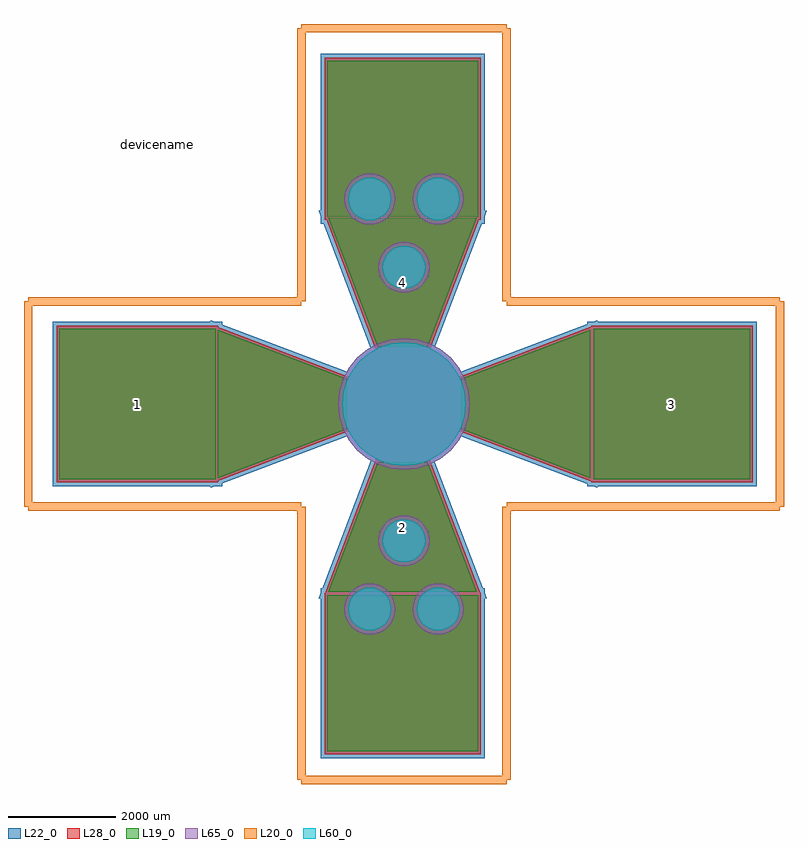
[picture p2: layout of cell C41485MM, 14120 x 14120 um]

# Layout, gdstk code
import gdstk
lib = gdstk.Library(unit=1e-6, precision=1e-09)
def R(c, l, rs):  # rectangles x0, y0, x1, y1
    for r in rs: c.add(gdstk.rectangle(r[:2], r[2:], *l))
def P(c, l, *ps):  # polygons
    for p in ps: c.add(gdstk.Polygon(p, *l))
L19_0 = (19, 0)
L20_0 = (20, 0)
L22_0 = (22, 0)
L28_0 = (28, 0)
L60_0 = (60, 0)
L65_0 = (65, 0)

c41485mm = lib.new_cell('C41485MM')
R(c41485mm, L19_0, [(-1425.74,-6454.94,1374.94,-3552.66), (-6404.14,-1400.34,-3501.86,1400.34), (3527.26,-1400.34,6429.54,1400.34), (-1425.74,3476.46,1374.94,6378.74)])
P(c41485mm, L19_0, [(-491.282,-1085.05),(440.482,-1085.05),(1352.472,-3486.95),(-1403.272,-3486.95)],
  [(-1403.272,3461.55),(1352.472,3461.55),(440.482,1059.65),(-491.282,1059.65)],
  [(1059.65,-465.882),(1059.65,465.882),(3461.55,1377.872),(3461.55,-1377.872)],
  [(-3461.55,-1377.872),(-3461.55,1377.872),(-1059.65,465.882),(-1059.65,-465.882)])
R(c41485mm, L22_0, [(-1550.74,-6579.94,1499.94,-3427.66), (-6529.14,-1525.34,-3376.86,1525.34), (3402.26,-1525.34,6554.54,1525.34), (-1550.74,3351.46,1499.94,6503.74)])
P(c41485mm, L22_0, [(-159.95,3810),(-169.078,3902.678),(-196.111,3991.794),(-240.01,4073.924),(-299.089,4145.911),(-371.076,4204.99),(-453.206,4248.889),(-542.322,4275.922),(-635,4285.05),(-727.678,4275.922),(-816.794,4248.889),(-898.924,4204.99),(-970.911,4145.911),(-1029.99,4073.924),(-1073.889,3991.794),(-1100.922,3902.678),(-1110.05,3810),(-1100.922,3717.322),(-1073.889,3628.206),(-1029.99,3546.076),(-970.911,3474.089),(-898.924,3415.01),(-816.794,3371.111),(-727.678,3344.078),(-635,3334.95),(-542.322,3344.078),(-453.206,3371.111),(-371.076,3415.01),(-299.089,3474.089),(-240.01,3546.076),(-196.111,3628.206),(-169.078,3717.322)],
  [(1110.05,3810),(1100.922,3902.678),(1073.889,3991.794),(1029.99,4073.924),(970.911,4145.911),(898.924,4204.99),(816.794,4248.889),(727.678,4275.922),(635,4285.05),(542.322,4275.922),(453.206,4248.889),(371.076,4204.99),(299.089,4145.911),(240.01,4073.924),(196.111,3991.794),(169.078,3902.678),(159.95,3810),(169.078,3717.322),(196.111,3628.206),(240.01,3546.076),(299.089,3474.089),(371.076,3415.01),(453.206,3371.111),(542.322,3344.078),(635,3334.95),(727.678,3344.078),(816.794,3371.111),(898.924,3415.01),(970.911,3474.089),(1029.99,3546.076),(1073.889,3628.206),(1100.922,3717.322)],
  [(1110.05,-3810),(1100.922,-3717.322),(1073.889,-3628.206),(1029.99,-3546.076),(970.911,-3474.089),(898.924,-3415.01),(816.794,-3371.111),(727.678,-3344.078),(635,-3334.95),(542.322,-3344.078),(453.206,-3371.111),(371.076,-3415.01),(299.089,-3474.089),(240.01,-3546.076),(196.111,-3628.206),(169.078,-3717.322),(159.95,-3810),(169.078,-3902.678),(196.111,-3991.794),(240.01,-4073.924),(299.089,-4145.911),(371.076,-4204.99),(453.206,-4248.889),(542.322,-4275.922),(635,-4285.05),(727.678,-4275.922),(816.794,-4248.889),(898.924,-4204.99),(970.911,-4145.911),(1029.99,-4073.924),(1073.889,-3991.794),(1100.922,-3902.678)],
  [(-159.95,-3810),(-169.078,-3717.322),(-196.111,-3628.206),(-240.01,-3546.076),(-299.089,-3474.089),(-371.076,-3415.01),(-453.206,-3371.111),(-542.322,-3344.078),(-635,-3334.95),(-727.678,-3344.078),(-816.794,-3371.111),(-898.924,-3415.01),(-970.911,-3474.089),(-1029.99,-3546.076),(-1073.889,-3628.206),(-1100.922,-3717.322),(-1110.05,-3810),(-1100.922,-3902.678),(-1073.889,-3991.794),(-1029.99,-4073.924),(-970.911,-4145.911),(-898.924,-4204.99),(-816.794,-4248.889),(-727.678,-4275.922),(-635,-4285.05),(-542.322,-4275.922),(-453.206,-4248.889),(-371.076,-4204.99),(-299.089,-4145.911),(-240.01,-4073.924),(-196.111,-3991.794),(-169.078,-3902.678)],
  [(475.05,-2540),(465.922,-2447.322),(438.889,-2358.206),(394.99,-2276.076),(335.911,-2204.089),(263.924,-2145.01),(181.794,-2101.111),(92.678,-2074.078),(0,-2064.95),(-92.678,-2074.078),(-181.794,-2101.111),(-263.924,-2145.01),(-335.911,-2204.089),(-394.99,-2276.076),(-438.889,-2358.206),(-465.922,-2447.322),(-475.05,-2540),(-465.922,-2632.678),(-438.889,-2721.794),(-394.99,-2803.924),(-335.911,-2875.911),(-263.924,-2934.99),(-181.794,-2978.889),(-92.678,-3005.922),(0,-3015.05),(92.678,-3005.922),(181.794,-2978.889),(263.924,-2934.99),(335.911,-2875.911),(394.99,-2803.924),(438.889,-2721.794),(465.922,-2632.678)],
  [(475.05,2540),(465.922,2632.678),(438.889,2721.794),(394.99,2803.924),(335.911,2875.911),(263.924,2934.99),(181.794,2978.889),(92.678,3005.922),(0,3015.05),(-92.678,3005.922),(-181.794,2978.889),(-263.924,2934.99),(-335.911,2875.911),(-394.99,2803.924),(-438.889,2721.794),(-465.922,2632.678),(-475.05,2540),(-465.922,2447.322),(-438.889,2358.206),(-394.99,2276.076),(-335.911,2204.089),(-263.924,2145.01),(-181.794,2101.111),(-92.678,2074.078),(0,2064.95),(92.678,2074.078),(181.794,2101.111),(263.924,2145.01),(335.911,2204.089),(394.99,2276.076),(438.889,2358.206),(465.922,2447.322)],
  [(1225.62,0),(1202.07,239.107),(1132.325,469.024),(1019.066,680.918),(866.644,866.644),(680.918,1019.066),(469.024,1132.325),(239.107,1202.07),(0,1225.62),(-239.107,1202.07),(-469.024,1132.325),(-680.918,1019.066),(-866.644,866.644),(-1019.066,680.918),(-1132.325,469.024),(-1202.07,239.107),(-1225.62,0),(-1202.07,-239.107),(-1132.325,-469.024),(-1019.066,-680.918),(-866.644,-866.644),(-680.918,-1019.066),(-469.024,-1132.325),(-239.107,-1202.07),(0,-1225.62),(239.107,-1202.07),(469.024,-1132.325),(680.918,-1019.066),(866.644,-866.644),(1019.066,-680.918),(1132.325,-469.024),(1202.07,-239.107)],
  [(-577.527,-960.05),(526.727,-960.05),(1533.642,-3611.95),(-1584.442,-3611.95)],
  [(-1584.442,3586.55),(1533.642,3586.55),(526.727,934.65),(-577.527,934.65)],
  [(934.65,-552.127),(934.65,552.127),(3586.55,1559.042),(3586.55,-1559.042)],
  [(-3586.55,-1559.042),(-3586.55,1559.042),(-934.65,552.127),(-934.65,-552.127)])
R(c41485mm, L28_0, [(-1475.74,-6504.94,1424.94,-3502.66), (-6454.14,-1450.34,-3451.86,1450.34), (3477.26,-1450.34,6479.54,1450.34), (-1475.74,3426.46,1424.94,6428.74)])
P(c41485mm, L28_0, [(-234.95,3810),(-242.637,3888.046),(-265.402,3963.093),(-302.371,4032.256),(-352.122,4092.878),(-412.744,4142.629),(-481.907,4179.598),(-556.954,4202.363),(-635,4210.05),(-713.046,4202.363),(-788.093,4179.598),(-857.256,4142.629),(-917.878,4092.878),(-967.629,4032.256),(-1004.598,3963.093),(-1027.363,3888.046),(-1035.05,3810),(-1027.363,3731.954),(-1004.598,3656.907),(-967.629,3587.744),(-917.878,3527.122),(-857.256,3477.371),(-788.093,3440.402),(-713.046,3417.637),(-635,3409.95),(-556.954,3417.637),(-481.907,3440.402),(-412.744,3477.371),(-352.122,3527.122),(-302.371,3587.744),(-265.402,3656.907),(-242.637,3731.954)],
  [(1035.05,3810),(1027.363,3888.046),(1004.598,3963.093),(967.629,4032.256),(917.878,4092.878),(857.256,4142.629),(788.093,4179.598),(713.046,4202.363),(635,4210.05),(556.954,4202.363),(481.907,4179.598),(412.744,4142.629),(352.122,4092.878),(302.371,4032.256),(265.402,3963.093),(242.637,3888.046),(234.95,3810),(242.637,3731.954),(265.402,3656.907),(302.371,3587.744),(352.122,3527.122),(412.744,3477.371),(481.907,3440.402),(556.954,3417.637),(635,3409.95),(713.046,3417.637),(788.093,3440.402),(857.256,3477.371),(917.878,3527.122),(967.629,3587.744),(1004.598,3656.907),(1027.363,3731.954)],
  [(1035.05,-3810),(1027.363,-3731.954),(1004.598,-3656.907),(967.629,-3587.744),(917.878,-3527.122),(857.256,-3477.371),(788.093,-3440.402),(713.046,-3417.637),(635,-3409.95),(556.954,-3417.637),(481.907,-3440.402),(412.744,-3477.371),(352.122,-3527.122),(302.371,-3587.744),(265.402,-3656.907),(242.637,-3731.954),(234.95,-3810),(242.637,-3888.046),(265.402,-3963.093),(302.371,-4032.256),(352.122,-4092.878),(412.744,-4142.629),(481.907,-4179.598),(556.954,-4202.363),(635,-4210.05),(713.046,-4202.363),(788.093,-4179.598),(857.256,-4142.629),(917.878,-4092.878),(967.629,-4032.256),(1004.598,-3963.093),(1027.363,-3888.046)],
  [(-234.95,-3810),(-242.637,-3731.954),(-265.402,-3656.907),(-302.371,-3587.744),(-352.122,-3527.122),(-412.744,-3477.371),(-481.907,-3440.402),(-556.954,-3417.637),(-635,-3409.95),(-713.046,-3417.637),(-788.093,-3440.402),(-857.256,-3477.371),(-917.878,-3527.122),(-967.629,-3587.744),(-1004.598,-3656.907),(-1027.363,-3731.954),(-1035.05,-3810),(-1027.363,-3888.046),(-1004.598,-3963.093),(-967.629,-4032.256),(-917.878,-4092.878),(-857.256,-4142.629),(-788.093,-4179.598),(-713.046,-4202.363),(-635,-4210.05),(-556.954,-4202.363),(-481.907,-4179.598),(-412.744,-4142.629),(-352.122,-4092.878),(-302.371,-4032.256),(-265.402,-3963.093),(-242.637,-3888.046)],
  [(400.05,-2540),(392.363,-2461.954),(369.598,-2386.907),(332.629,-2317.744),(282.878,-2257.122),(222.256,-2207.371),(153.093,-2170.402),(78.046,-2147.637),(0,-2139.95),(-78.046,-2147.637),(-153.093,-2170.402),(-222.256,-2207.371),(-282.878,-2257.122),(-332.629,-2317.744),(-369.598,-2386.907),(-392.363,-2461.954),(-400.05,-2540),(-392.363,-2618.046),(-369.598,-2693.093),(-332.629,-2762.256),(-282.878,-2822.878),(-222.256,-2872.629),(-153.093,-2909.598),(-78.046,-2932.363),(0,-2940.05),(78.046,-2932.363),(153.093,-2909.598),(222.256,-2872.629),(282.878,-2822.878),(332.629,-2762.256),(369.598,-2693.093),(392.363,-2618.046)],
  [(400.05,2540),(392.363,2618.046),(369.598,2693.093),(332.629,2762.256),(282.878,2822.878),(222.256,2872.629),(153.093,2909.598),(78.046,2932.363),(0,2940.05),(-78.046,2932.363),(-153.093,2909.598),(-222.256,2872.629),(-282.878,2822.878),(-332.629,2762.256),(-369.598,2693.093),(-392.363,2618.046),(-400.05,2540),(-392.363,2461.954),(-369.598,2386.907),(-332.629,2317.744),(-282.878,2257.122),(-222.256,2207.371),(-153.093,2170.402),(-78.046,2147.637),(0,2139.95),(78.046,2147.637),(153.093,2170.402),(222.256,2207.371),(282.878,2257.122),(332.629,2317.744),(369.598,2386.907),(392.363,2461.954)],
  [(1150.62,0),(1128.511,224.475),(1063.034,440.323),(956.706,639.25),(813.611,813.611),(639.25,956.706),(440.323,1063.034),(224.475,1128.511),(0,1150.62),(-224.475,1128.511),(-440.323,1063.034),(-639.25,956.706),(-813.611,813.611),(-956.706,639.25),(-1063.034,440.323),(-1128.511,224.475),(-1150.62,0),(-1128.511,-224.475),(-1063.034,-440.323),(-956.706,-639.25),(-813.611,-813.611),(-639.25,-956.706),(-440.323,-1063.034),(-224.475,-1128.511),(0,-1150.62),(224.475,-1128.511),(440.323,-1063.034),(639.25,-956.706),(813.611,-813.611),(956.706,-639.25),(1063.034,-440.323),(1128.511,-224.475)],
  [(-525.78,-1035.05),(474.98,-1035.05),(1424.94,-3536.95),(-1475.74,-3536.95)],
  [(-1475.74,3511.55),(1424.94,3511.55),(474.98,1009.65),(-525.78,1009.65)],
  [(1009.65,-500.38),(1009.65,500.38),(3511.55,1450.34),(3511.55,-1450.34)],
  [(-3511.55,-1450.34),(-3511.55,1450.34),(-1009.65,500.38),(-1009.65,-500.38)])
P(c41485mm, L60_0, [(-234.95,3810),(-242.637,3888.046),(-265.402,3963.093),(-302.371,4032.256),(-352.122,4092.878),(-412.744,4142.629),(-481.907,4179.598),(-556.954,4202.363),(-635,4210.05),(-713.046,4202.363),(-788.093,4179.598),(-857.256,4142.629),(-917.878,4092.878),(-967.629,4032.256),(-1004.598,3963.093),(-1027.363,3888.046),(-1035.05,3810),(-1027.363,3731.954),(-1004.598,3656.907),(-967.629,3587.744),(-917.878,3527.122),(-857.256,3477.371),(-788.093,3440.402),(-713.046,3417.637),(-635,3409.95),(-556.954,3417.637),(-481.907,3440.402),(-412.744,3477.371),(-352.122,3527.122),(-302.371,3587.744),(-265.402,3656.907),(-242.637,3731.954)],
  [(1035.05,3810),(1027.363,3888.046),(1004.598,3963.093),(967.629,4032.256),(917.878,4092.878),(857.256,4142.629),(788.093,4179.598),(713.046,4202.363),(635,4210.05),(556.954,4202.363),(481.907,4179.598),(412.744,4142.629),(352.122,4092.878),(302.371,4032.256),(265.402,3963.093),(242.637,3888.046),(234.95,3810),(242.637,3731.954),(265.402,3656.907),(302.371,3587.744),(352.122,3527.122),(412.744,3477.371),(481.907,3440.402),(556.954,3417.637),(635,3409.95),(713.046,3417.637),(788.093,3440.402),(857.256,3477.371),(917.878,3527.122),(967.629,3587.744),(1004.598,3656.907),(1027.363,3731.954)],
  [(1035.05,-3810),(1027.363,-3731.954),(1004.598,-3656.907),(967.629,-3587.744),(917.878,-3527.122),(857.256,-3477.371),(788.093,-3440.402),(713.046,-3417.637),(635,-3409.95),(556.954,-3417.637),(481.907,-3440.402),(412.744,-3477.371),(352.122,-3527.122),(302.371,-3587.744),(265.402,-3656.907),(242.637,-3731.954),(234.95,-3810),(242.637,-3888.046),(265.402,-3963.093),(302.371,-4032.256),(352.122,-4092.878),(412.744,-4142.629),(481.907,-4179.598),(556.954,-4202.363),(635,-4210.05),(713.046,-4202.363),(788.093,-4179.598),(857.256,-4142.629),(917.878,-4092.878),(967.629,-4032.256),(1004.598,-3963.093),(1027.363,-3888.046)],
  [(-234.95,-3810),(-242.637,-3731.954),(-265.402,-3656.907),(-302.371,-3587.744),(-352.122,-3527.122),(-412.744,-3477.371),(-481.907,-3440.402),(-556.954,-3417.637),(-635,-3409.95),(-713.046,-3417.637),(-788.093,-3440.402),(-857.256,-3477.371),(-917.878,-3527.122),(-967.629,-3587.744),(-1004.598,-3656.907),(-1027.363,-3731.954),(-1035.05,-3810),(-1027.363,-3888.046),(-1004.598,-3963.093),(-967.629,-4032.256),(-917.878,-4092.878),(-857.256,-4142.629),(-788.093,-4179.598),(-713.046,-4202.363),(-635,-4210.05),(-556.954,-4202.363),(-481.907,-4179.598),(-412.744,-4142.629),(-352.122,-4092.878),(-302.371,-4032.256),(-265.402,-3963.093),(-242.637,-3888.046)],
  [(400.05,-2540),(392.363,-2461.954),(369.598,-2386.907),(332.629,-2317.744),(282.878,-2257.122),(222.256,-2207.371),(153.093,-2170.402),(78.046,-2147.637),(0,-2139.95),(-78.046,-2147.637),(-153.093,-2170.402),(-222.256,-2207.371),(-282.878,-2257.122),(-332.629,-2317.744),(-369.598,-2386.907),(-392.363,-2461.954),(-400.05,-2540),(-392.363,-2618.046),(-369.598,-2693.093),(-332.629,-2762.256),(-282.878,-2822.878),(-222.256,-2872.629),(-153.093,-2909.598),(-78.046,-2932.363),(0,-2940.05),(78.046,-2932.363),(153.093,-2909.598),(222.256,-2872.629),(282.878,-2822.878),(332.629,-2762.256),(369.598,-2693.093),(392.363,-2618.046)],
  [(400.05,2540),(392.363,2618.046),(369.598,2693.093),(332.629,2762.256),(282.878,2822.878),(222.256,2872.629),(153.093,2909.598),(78.046,2932.363),(0,2940.05),(-78.046,2932.363),(-153.093,2909.598),(-222.256,2872.629),(-282.878,2822.878),(-332.629,2762.256),(-369.598,2693.093),(-392.363,2618.046),(-400.05,2540),(-392.363,2461.954),(-369.598,2386.907),(-332.629,2317.744),(-282.878,2257.122),(-222.256,2207.371),(-153.093,2170.402),(-78.046,2147.637),(0,2139.95),(78.046,2147.637),(153.093,2170.402),(222.256,2207.371),(282.878,2257.122),(332.629,2317.744),(369.598,2386.907),(392.363,2461.954)],
  [(1150.62,0),(1128.511,224.475),(1063.034,440.323),(956.706,639.25),(813.611,813.611),(639.25,956.706),(440.323,1063.034),(224.475,1128.511),(0,1150.62),(-224.475,1128.511),(-440.323,1063.034),(-639.25,956.706),(-813.611,813.611),(-956.706,639.25),(-1063.034,440.323),(-1128.511,224.475),(-1150.62,0),(-1128.511,-224.475),(-1063.034,-440.323),(-956.706,-639.25),(-813.611,-813.611),(-639.25,-956.706),(-440.323,-1063.034),(-224.475,-1128.511),(0,-1150.62),(224.475,-1128.511),(440.323,-1063.034),(639.25,-956.706),(813.611,-813.611),(956.706,-639.25),(1063.034,-440.323),(1128.511,-224.475)])
P(c41485mm, L65_0, [(-159.95,3810),(-169.078,3902.678),(-196.111,3991.794),(-240.01,4073.924),(-299.089,4145.911),(-371.076,4204.99),(-453.206,4248.889),(-542.322,4275.922),(-635,4285.05),(-727.678,4275.922),(-816.794,4248.889),(-898.924,4204.99),(-970.911,4145.911),(-1029.99,4073.924),(-1073.889,3991.794),(-1100.922,3902.678),(-1110.05,3810),(-1100.922,3717.322),(-1073.889,3628.206),(-1029.99,3546.076),(-970.911,3474.089),(-898.924,3415.01),(-816.794,3371.111),(-727.678,3344.078),(-635,3334.95),(-542.322,3344.078),(-453.206,3371.111),(-371.076,3415.01),(-299.089,3474.089),(-240.01,3546.076),(-196.111,3628.206),(-169.078,3717.322)],
  [(1110.05,3810),(1100.922,3902.678),(1073.889,3991.794),(1029.99,4073.924),(970.911,4145.911),(898.924,4204.99),(816.794,4248.889),(727.678,4275.922),(635,4285.05),(542.322,4275.922),(453.206,4248.889),(371.076,4204.99),(299.089,4145.911),(240.01,4073.924),(196.111,3991.794),(169.078,3902.678),(159.95,3810),(169.078,3717.322),(196.111,3628.206),(240.01,3546.076),(299.089,3474.089),(371.076,3415.01),(453.206,3371.111),(542.322,3344.078),(635,3334.95),(727.678,3344.078),(816.794,3371.111),(898.924,3415.01),(970.911,3474.089),(1029.99,3546.076),(1073.889,3628.206),(1100.922,3717.322)],
  [(1110.05,-3810),(1100.922,-3717.322),(1073.889,-3628.206),(1029.99,-3546.076),(970.911,-3474.089),(898.924,-3415.01),(816.794,-3371.111),(727.678,-3344.078),(635,-3334.95),(542.322,-3344.078),(453.206,-3371.111),(371.076,-3415.01),(299.089,-3474.089),(240.01,-3546.076),(196.111,-3628.206),(169.078,-3717.322),(159.95,-3810),(169.078,-3902.678),(196.111,-3991.794),(240.01,-4073.924),(299.089,-4145.911),(371.076,-4204.99),(453.206,-4248.889),(542.322,-4275.922),(635,-4285.05),(727.678,-4275.922),(816.794,-4248.889),(898.924,-4204.99),(970.911,-4145.911),(1029.99,-4073.924),(1073.889,-3991.794),(1100.922,-3902.678)],
  [(-159.95,-3810),(-169.078,-3717.322),(-196.111,-3628.206),(-240.01,-3546.076),(-299.089,-3474.089),(-371.076,-3415.01),(-453.206,-3371.111),(-542.322,-3344.078),(-635,-3334.95),(-727.678,-3344.078),(-816.794,-3371.111),(-898.924,-3415.01),(-970.911,-3474.089),(-1029.99,-3546.076),(-1073.889,-3628.206),(-1100.922,-3717.322),(-1110.05,-3810),(-1100.922,-3902.678),(-1073.889,-3991.794),(-1029.99,-4073.924),(-970.911,-4145.911),(-898.924,-4204.99),(-816.794,-4248.889),(-727.678,-4275.922),(-635,-4285.05),(-542.322,-4275.922),(-453.206,-4248.889),(-371.076,-4204.99),(-299.089,-4145.911),(-240.01,-4073.924),(-196.111,-3991.794),(-169.078,-3902.678)],
  [(475.05,-2540),(465.922,-2447.322),(438.889,-2358.206),(394.99,-2276.076),(335.911,-2204.089),(263.924,-2145.01),(181.794,-2101.111),(92.678,-2074.078),(0,-2064.95),(-92.678,-2074.078),(-181.794,-2101.111),(-263.924,-2145.01),(-335.911,-2204.089),(-394.99,-2276.076),(-438.889,-2358.206),(-465.922,-2447.322),(-475.05,-2540),(-465.922,-2632.678),(-438.889,-2721.794),(-394.99,-2803.924),(-335.911,-2875.911),(-263.924,-2934.99),(-181.794,-2978.889),(-92.678,-3005.922),(0,-3015.05),(92.678,-3005.922),(181.794,-2978.889),(263.924,-2934.99),(335.911,-2875.911),(394.99,-2803.924),(438.889,-2721.794),(465.922,-2632.678)],
  [(475.05,2540),(465.922,2632.678),(438.889,2721.794),(394.99,2803.924),(335.911,2875.911),(263.924,2934.99),(181.794,2978.889),(92.678,3005.922),(0,3015.05),(-92.678,3005.922),(-181.794,2978.889),(-263.924,2934.99),(-335.911,2875.911),(-394.99,2803.924),(-438.889,2721.794),(-465.922,2632.678),(-475.05,2540),(-465.922,2447.322),(-438.889,2358.206),(-394.99,2276.076),(-335.911,2204.089),(-263.924,2145.01),(-181.794,2101.111),(-92.678,2074.078),(0,2064.95),(92.678,2074.078),(181.794,2101.111),(263.924,2145.01),(335.911,2204.089),(394.99,2276.076),(438.889,2358.206),(465.922,2447.322)],
  [(1225.62,0),(1202.07,239.107),(1132.325,469.024),(1019.066,680.918),(866.644,866.644),(680.918,1019.066),(469.024,1132.325),(239.107,1202.07),(0,1225.62),(-239.107,1202.07),(-469.024,1132.325),(-680.918,1019.066),(-866.644,866.644),(-1019.066,680.918),(-1132.325,469.024),(-1202.07,239.107),(-1225.62,0),(-1202.07,-239.107),(-1132.325,-469.024),(-1019.066,-680.918),(-866.644,-866.644),(-680.918,-1019.066),(-469.024,-1132.325),(-239.107,-1202.07),(0,-1225.62),(239.107,-1202.07),(469.024,-1132.325),(680.918,-1019.066),(866.644,-866.644),(1019.066,-680.918),(1132.325,-469.024),(1202.07,-239.107)])
c41485mm.add(gdstk.FlexPath([(-1905,1905),(-6985,1905)], 149.998, ends="flush", simple_path=True, layer=20, datatype=0))  # L20_0
c41485mm.add(gdstk.FlexPath([(-1905,6985),(-1905,1905)], 149.998, ends="flush", simple_path=True, layer=20, datatype=0))  # L20_0
c41485mm.add(gdstk.FlexPath([(1905,6985),(-1905,6985)], 149.998, ends="flush", simple_path=True, layer=20, datatype=0))  # L20_0
c41485mm.add(gdstk.FlexPath([(1905,1905),(1905,6985)], 149.998, ends="flush", simple_path=True, layer=20, datatype=0))  # L20_0
c41485mm.add(gdstk.FlexPath([(6985,1905),(1905,1905)], 149.998, ends="flush", simple_path=True, layer=20, datatype=0))  # L20_0
c41485mm.add(gdstk.FlexPath([(6985,-1905),(6985,1905)], 149.998, ends="flush", simple_path=True, layer=20, datatype=0))  # L20_0
c41485mm.add(gdstk.FlexPath([(1905,-1905),(6985,-1905)], 149.998, ends="flush", simple_path=True, layer=20, datatype=0))  # L20_0
c41485mm.add(gdstk.FlexPath([(1905,-6985),(1905,-1905)], 149.998, ends="flush", simple_path=True, layer=20, datatype=0))  # L20_0
c41485mm.add(gdstk.FlexPath([(-1905,-6985),(1905,-6985)], 149.998, ends="flush", simple_path=True, layer=20, datatype=0))  # L20_0
c41485mm.add(gdstk.FlexPath([(-1905,-1905),(-1905,-6985)], 149.998, ends="flush", simple_path=True, layer=20, datatype=0))  # L20_0
c41485mm.add(gdstk.FlexPath([(-6985,-1905),(-1905,-1905)], 149.998, ends="flush", simple_path=True, layer=20, datatype=0))  # L20_0
c41485mm.add(gdstk.FlexPath([(-6985,1905),(-6985,-1905)], 149.998, ends="flush", simple_path=True, layer=20, datatype=0))  # L20_0
c41485mm.add(gdstk.Label('2', (-25.4,-2286), layer=28, texttype=0))
c41485mm.add(gdstk.Label('4', (-25.4,2260.6), layer=28, texttype=0))
c41485mm.add(gdstk.Label('3', (4978.4,0), layer=28, texttype=0))
c41485mm.add(gdstk.Label('1', (-4953,0), layer=28, texttype=0))
c41485mm.add(gdstk.Label('type', (635,-7874), layer=9, texttype=0))
c41485mm.add(gdstk.Label('devicename', (-4572,4826), layer=9, texttype=0))

lib.write_gds('C41485MM.gds')
